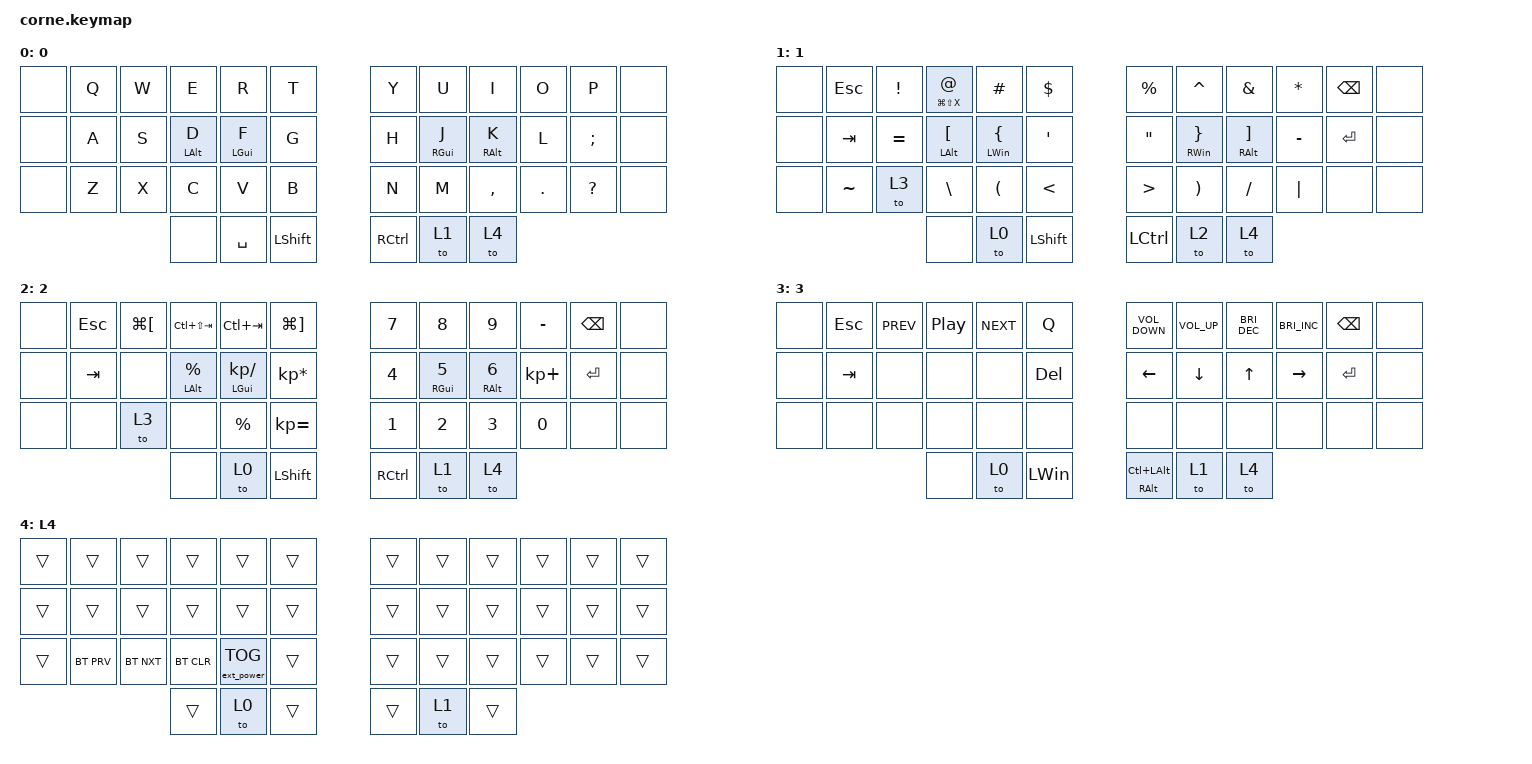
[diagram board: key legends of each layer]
/*
 * Copyright (c) 2020 The ZMK Contributors
 *
 * SPDX-License-Identifier: MIT
 */

#include <behaviors.dtsi>
#include <dt-bindings/zmk/bt.h>
#include <dt-bindings/zmk/ext_power.h>
#include <dt-bindings/zmk/keys.h>

&mt { quick-tap-ms = <150>; };

/ {
    behaviors {
        hm: homerow_mods {
            compatible = "zmk,behavior-hold-tap";
            label = "HOMEROW_MODS";
            #binding-cells = <2>;
            tapping-term-ms = <200>;
            quick_tap_ms = <150>;
            flavor = "balanced";
            bindings = <&kp>, <&kp>;

            quick-tap-ms = <150>;
        };

        ltq: ltq {
            compatible = "zmk,behavior-hold-tap";
            label = "LTQ";
            bindings = <&mo>, <&kp>;

            #binding-cells = <2>;
            tapping-term-ms = <600>;
            global-quick-tap;
            quick-tap-ms = <400>;
        };
    };

    combos {
        compatible = "zmk,combos";

        left_bkt {
            bindings = <&kp LEFT_BRACKET>;
            key-positions = <4 3>;
            timeout-ms = <50>;
        };

        right_bkt {
            bindings = <&kp RBKT>;
            key-positions = <7 8>;
            timeout-ms = <50>;
        };

        left_par {
            bindings = <&kp LEFT_PARENTHESIS>;
            key-positions = <15 16>;
            timeout-ms = <50>;
        };

        right_par {
            bindings = <&kp RIGHT_PARENTHESIS>;
            key-positions = <19 20>;
            timeout-ms = <50>;
        };

        left_brace {
            bindings = <&kp LEFT_BRACE>;
            key-positions = <27 28>;
            timeout-ms = <50>;
        };

        right_brace {
            bindings = <&kp RIGHT_BRACE>;
            key-positions = <32 31>;
            timeout-ms = <50>;
        };

        bac {
            bindings = <&kp BACKSLASH>;
            key-positions = <5 6>;
        };

        pipe {
            bindings = <&kp PIPE>;
            key-positions = <17 18>;
        };
    };

    keymap {
        compatible = "zmk,keymap";

        L0 {
            bindings = <
&none  &kp Q  &kp W  &kp E           &kp R           &kp T           &kp Y      &kp U            &kp I            &kp O    &kp P         &none
&none  &kp A  &kp S  &hm LEFT_ALT D  &hm LEFT_GUI F  &kp G           &kp H      &hm RIGHT_GUI J  &hm RIGHT_ALT K  &kp L    &kp SEMI      &none
&none  &kp Z  &kp X  &kp C           &kp V           &kp B           &kp N      &kp M            &kp COMMA        &kp DOT  &kp QUESTION  &none
                     &none           &kp SPACE       &kp LEFT_SHIFT  &kp RCTRL  &to 1            &to 4
            >;

            label = "0";
        };

        L1 {
            bindings = <
&none  &kp ESC    &kp EXCLAMATION  &mt LG(LS(X)) AT_SIGN      &kp HASH                 &kp DOLLAR      &kp PERCENT        &kp CARET                  &kp AMPERSAND                &kp ASTERISK  &kp BACKSPACE  &none
&none  &kp TAB    &kp EQUAL        &hm LEFT_ALT LEFT_BRACKET  &hm LEFT_WIN LEFT_BRACE  &kp SQT         &kp DOUBLE_QUOTES  &hm RIGHT_WIN RIGHT_BRACE  &hm RIGHT_ALT RIGHT_BRACKET  &kp MINUS     &kp ENTER      &none
&none  &kp TILDE  &to 3            &kp BACKSLASH              &kp LEFT_PARENTHESIS     &kp LESS_THAN   &kp GREATER_THAN   &kp RIGHT_PARENTHESIS      &kp SLASH                    &kp PIPE      &none          &none
                                   &none                      &to 0                    &kp LEFT_SHIFT  &kp LEFT_CONTROL   &to 2                      &to 4
            >;

            label = "1";
        };

        L2 {
            bindings = <
&none  &kp ESC  &kp LG(LEFT_BRACKET)  &kp LC(LS(TAB))       &kp LC(TAB)             &kp LG(RIGHT_BRACKET)  &kp NUMBER_7  &kp NUMBER_8            &kp NUMBER_9            &kp MINUS     &kp BACKSPACE  &none
&none  &kp TAB  &none                 &hm LEFT_ALT PERCENT  &hm LEFT_GUI KP_DIVIDE  &kp KP_MULTIPLY        &kp NUMBER_4  &hm RIGHT_GUI NUMBER_5  &hm RIGHT_ALT NUMBER_6  &kp KP_PLUS   &kp ENTER      &none
&none  &none    &to 3                 &none                 &kp PERCENT             &kp KP_EQUAL           &kp NUMBER_1  &kp NUMBER_2            &kp NUMBER_3            &kp NUMBER_0  &none          &none
                                      &none                 &to 0                   &kp LEFT_SHIFT         &kp RCTRL     &to 1                   &to 4
            >;

            label = "2";
        };

        L3 {
            bindings = <
&none  &kp ESC  &kp C_PREV  &kp C_PLAY_PAUSE  &kp C_NEXT  &kp Q         &kp C_VOLUME_DOWN           &kp C_VOLUME_UP  &kp C_BRIGHTNESS_DEC  &kp C_BRIGHTNESS_INC  &kp BACKSPACE  &none
&none  &kp TAB  &none       &none             &none       &kp DEL       &kp LEFT                    &kp DOWN         &kp UP                &kp RIGHT             &kp ENTER      &none
&none  &none    &none       &none             &none       &none         &none                       &none            &none                 &none                 &none          &none
                            &none             &to 0       &kp LEFT_WIN  &hm RIGHT_ALT LC(LEFT_ALT)  &to 1            &to 4
            >;

            label = "3";
        };

        L4 {
            bindings = <
&trans  &trans      &trans      &trans      &trans             &trans  &trans  &trans  &trans  &trans  &trans  &trans
&trans  &trans      &trans      &trans      &trans             &trans  &trans  &trans  &trans  &trans  &trans  &trans
&trans  &bt BT_PRV  &bt BT_NXT  &bt BT_CLR  &ext_power EP_TOG  &trans  &trans  &trans  &trans  &trans  &trans  &trans
                                &trans      &to 0              &trans  &trans  &to 1   &trans
            >;
        };
    };
};
